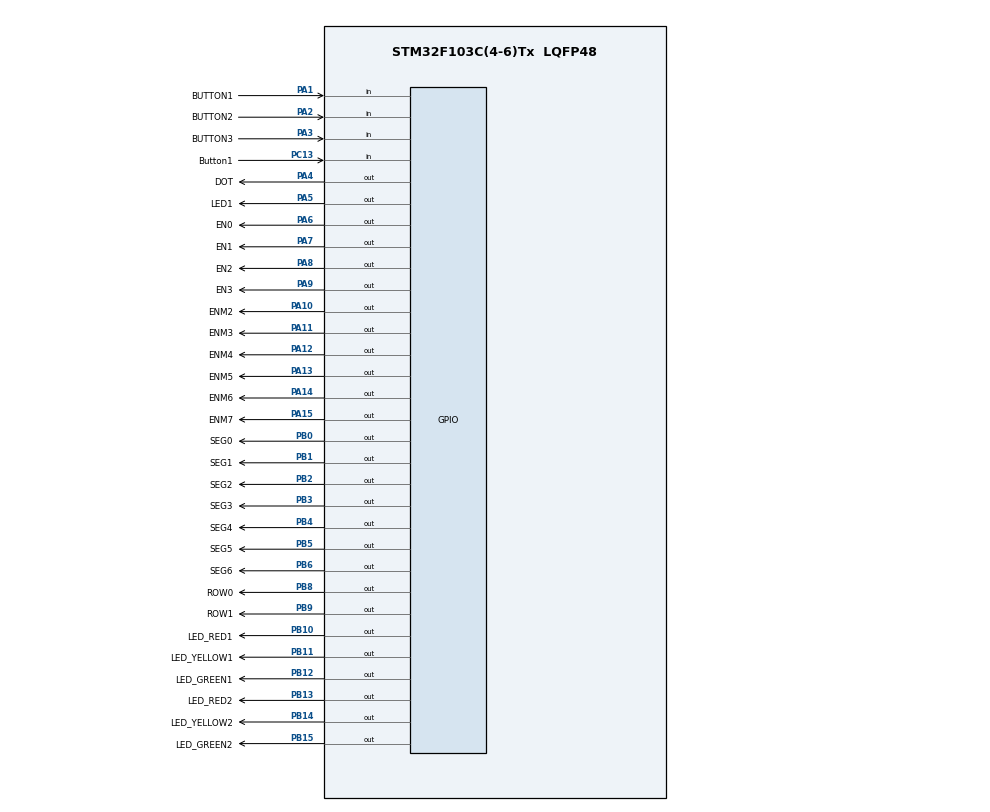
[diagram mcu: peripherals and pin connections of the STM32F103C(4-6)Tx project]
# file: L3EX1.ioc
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Mcu.Family=STM32F1
Mcu.Name=STM32F103C(4-6)Tx
Mcu.Package=LQFP48
NVIC.PriorityGroup=NVIC_PRIORITYGROUP_4
NVIC.TIM2_IRQn=true\:0\:0\:false\:false\:true\:true\:true\:true
PA1.GPIO_Label=BUTTON1
PA1.GPIO_PuPd=GPIO_PULLUP
PA1.Signal=GPIO_Input
PA10.GPIO_Label=ENM2
PA10.Signal=GPIO_Output
PA11.GPIO_Label=ENM3
PA11.Signal=GPIO_Output
PA12.GPIO_Label=ENM4
PA12.Signal=GPIO_Output
PA13.GPIO_Label=ENM5
PA13.Signal=GPIO_Output
PA14.GPIO_Label=ENM6
PA14.Signal=GPIO_Output
PA15.GPIO_Label=ENM7
PA15.Signal=GPIO_Output
PA2.GPIO_Label=BUTTON2
PA2.GPIO_PuPd=GPIO_PULLUP
PA2.Signal=GPIO_Input
PA3.GPIO_Label=BUTTON3
PA3.GPIO_PuPd=GPIO_PULLUP
PA3.Signal=GPIO_Input
PA4.GPIO_Label=DOT
PA4.Signal=GPIO_Output
PA5.GPIO_Label=LED1
PA5.Signal=GPIO_Output
PA6.GPIO_Label=EN0
PA6.Signal=GPIO_Output
PA7.GPIO_Label=EN1
PA7.Signal=GPIO_Output
PA8.GPIO_Label=EN2
PA8.Signal=GPIO_Output
PA9.GPIO_Label=EN3
PA9.Signal=GPIO_Output
PB0.GPIO_Label=SEG0
PB0.Signal=GPIO_Output
PB1.GPIO_Label=SEG1
PB1.Signal=GPIO_Output
PB10.GPIO_Label=LED_RED1
PB10.Signal=GPIO_Output
PB11.GPIO_Label=LED_YELLOW1
PB11.Signal=GPIO_Output
PB12.GPIO_Label=LED_GREEN1
PB12.Signal=GPIO_Output
PB13.GPIO_Label=LED_RED2
PB13.Signal=GPIO_Output
PB14.GPIO_Label=LED_YELLOW2
PB14.Signal=GPIO_Output
PB15.GPIO_Label=LED_GREEN2
PB15.Signal=GPIO_Output
PB2.GPIO_Label=SEG2
PB2.Signal=GPIO_Output
PB3.GPIO_Label=SEG3
PB3.Signal=GPIO_Output
PB4.GPIO_Label=SEG4
PB4.Signal=GPIO_Output
PB5.GPIO_Label=SEG5
PB5.Signal=GPIO_Output
PB6.GPIO_Label=SEG6
PB6.Signal=GPIO_Output
PB8.GPIO_Label=ROW0
PB8.Signal=GPIO_Output
PB9.GPIO_Label=ROW1
PB9.Signal=GPIO_Output
PC13-TAMPER-RTC.GPIO_Label=Button1
PC13-TAMPER-RTC.GPIO_PuPd=GPIO_PULLUP
PC13-TAMPER-RTC.Signal=GPIO_Input
ProjectManager.HeapSize=0x200
ProjectManager.StackSize=0x400
ProjectManager.TargetToolchain=STM32CubeIDE
RCC.APB1Freq_Value=8000000
RCC.APB2Freq_Value=8000000
TIM2.Period=9
TIM2.Prescaler=7999
VP_TIM2_VS_ClockSourceINT.Mode=Internal
board=custom

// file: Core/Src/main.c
/* USER CODE BEGIN Header */
/**
  ******************************************************************************
  * @file           : main.c
  * @brief          : Main program body
  ******************************************************************************
  * @attention
  *
  * Copyright (c) 2022 STMicroelectronics.
  * All rights reserved.
  *
  * This software is licensed under terms that can be found in the LICENSE file
  * in the root directory of this software component.
  * If no LICENSE file comes with this software, it is provided AS-IS.
  *
  ******************************************************************************
  */
/* USER CODE END Header */
#include "main.h"

/* USER CODE BEGIN Includes */
#include "fsm_automatic.h"
#include "fsm_manual.h"
#include "global.h"
#include "traffic_timer.h"
#include "7segment_led.h"
/* USER CODE END Includes */

TIM_HandleTypeDef htim2;

void SystemClock_Config(void);
static void MX_GPIO_Init(void);
static void MX_TIM2_Init(void);

int main(void)
{

  /* MCU Configuration--------------------------------------------------------*/

  /* Reset of all peripherals, Initializes the Flash interface and the Systick. */
  HAL_Init();

  /* Configure the system clock */
  SystemClock_Config();

  /* Initialize all configured peripherals */
  MX_GPIO_Init();
  MX_TIM2_Init();
  /* USER CODE BEGIN 2 */
  HAL_TIM_Base_Start_IT(&htim2);

  /* USER CODE END 2 */

  /* Infinite loop */
  /* USER CODE BEGIN WHILE */
  //int hour = 15 , minute = 59 , second = 50;
  //int led_index = 0;

  setTimer1(250);

  while (1)
  {

	  light_control_1();
	  light_control_2();

	  fsm_manual_run();

	  if (timer1_flag == 1){
		  setTimer1(250);

		  //Cum den 1
		  if (RED1_flag){
			  HAL_GPIO_TogglePin(LED_RED1_GPIO_Port, LED_RED1_Pin);
		  }
		  else if(YELLOW1_flag){
			  HAL_GPIO_TogglePin(LED_YELLOW1_GPIO_Port, LED_YELLOW1_Pin);
		  }
		  else if(GREEN1_flag){
			  HAL_GPIO_TogglePin(LED_GREEN1_GPIO_Port, LED_GREEN1_Pin);
		  }

		  //Cum den 2
		  if(RED2_flag){
			  HAL_GPIO_TogglePin(LED_RED2_GPIO_Port, LED_RED2_Pin);
		  }
		  else if(YELLOW2_flag){
			  HAL_GPIO_TogglePin(LED_YELLOW2_GPIO_Port, LED_YELLOW2_Pin);
		  }
		  else if(GREEN2_flag){
			  HAL_GPIO_TogglePin(LED_GREEN2_GPIO_Port, LED_GREEN2_Pin);
		  }

		  // Update 7seg LEDs
		  if (index_led > 3){
		  	  	index_led = 0;
		  }
		  update7SEG(index_led++);

	  }

    /* USER CODE END WHILE */

  }
}

void SystemClock_Config(void)
{
  RCC_OscInitTypeDef RCC_OscInitStruct = {0};
  RCC_ClkInitTypeDef RCC_ClkInitStruct = {0};

  /** Initializes the RCC Oscillators according to the specified parameters
  * in the RCC_OscInitTypeDef structure.
  */
  RCC_OscInitStruct.OscillatorType = RCC_OSCILLATORTYPE_HSI;
  RCC_OscInitStruct.HSIState = RCC_HSI_ON;
  RCC_OscInitStruct.HSICalibrationValue = RCC_HSICALIBRATION_DEFAULT;
  RCC_OscInitStruct.PLL.PLLState = RCC_PLL_NONE;
  if (HAL_RCC_OscConfig(&RCC_OscInitStruct) != HAL_OK)
  {
    Error_Handler();
  }

  /** Initializes the CPU, AHB and APB buses clocks
  */
  RCC_ClkInitStruct.ClockType = RCC_CLOCKTYPE_HCLK|RCC_CLOCKTYPE_SYSCLK
                              |RCC_CLOCKTYPE_PCLK1|RCC_CLOCKTYPE_PCLK2;
  RCC_ClkInitStruct.SYSCLKSource = RCC_SYSCLKSOURCE_HSI;
  RCC_ClkInitStruct.AHBCLKDivider = RCC_SYSCLK_DIV1;
  RCC_ClkInitStruct.APB1CLKDivider = RCC_HCLK_DIV1;
  RCC_ClkInitStruct.APB2CLKDivider = RCC_HCLK_DIV1;

  if (HAL_RCC_ClockConfig(&RCC_ClkInitStruct, FLASH_LATENCY_0) != HAL_OK)
  {
    Error_Handler();
  }
}

static void MX_TIM2_Init(void)
{

  TIM_ClockConfigTypeDef sClockSourceConfig = {0};
  TIM_MasterConfigTypeDef sMasterConfig = {0};

  htim2.Instance = TIM2;
  htim2.Init.Prescaler = 7999;
  htim2.Init.CounterMode = TIM_COUNTERMODE_UP;
  htim2.Init.Period = 9;
  htim2.Init.ClockDivision = TIM_CLOCKDIVISION_DIV1;
  htim2.Init.AutoReloadPreload = TIM_AUTORELOAD_PRELOAD_DISABLE;
  if (HAL_TIM_Base_Init(&htim2) != HAL_OK)
  {
    Error_Handler();
  }
  sClockSourceConfig.ClockSource = TIM_CLOCKSOURCE_INTERNAL;
  if (HAL_TIM_ConfigClockSource(&htim2, &sClockSourceConfig) != HAL_OK)
  {
    Error_Handler();
  }
  sMasterConfig.MasterOutputTrigger = TIM_TRGO_RESET;
  sMasterConfig.MasterSlaveMode = TIM_MASTERSLAVEMODE_DISABLE;
  if (HAL_TIMEx_MasterConfigSynchronization(&htim2, &sMasterConfig) != HAL_OK)
  {
    Error_Handler();
  }

}

static void MX_GPIO_Init(void)
{
  GPIO_InitTypeDef GPIO_InitStruct = {0};

  /* GPIO Ports Clock Enable */
  __HAL_RCC_GPIOC_CLK_ENABLE();
  __HAL_RCC_GPIOA_CLK_ENABLE();
  __HAL_RCC_GPIOB_CLK_ENABLE();

  /*Configure GPIO pin Output Level */
  HAL_GPIO_WritePin(GPIOA, DOT_Pin|LED1_Pin|EN0_Pin|EN1_Pin
                          |EN2_Pin|EN3_Pin|ENM2_Pin|ENM3_Pin
                          |ENM4_Pin|ENM5_Pin|ENM6_Pin|ENM7_Pin, GPIO_PIN_RESET);

  /*Configure GPIO pin Output Level */
  HAL_GPIO_WritePin(GPIOB, SEG0_Pin|SEG1_Pin|SEG2_Pin|LED_RED1_Pin
                          |LED_YELLOW1_Pin|LED_GREEN1_Pin|LED_RED2_Pin|LED_YELLOW2_Pin
                          |LED_GREEN2_Pin|SEG3_Pin|SEG4_Pin|SEG5_Pin
                          |SEG6_Pin|ROW0_Pin|ROW1_Pin, GPIO_PIN_RESET);

  /*Configure GPIO pin : Button1_Pin */
  GPIO_InitStruct.Pin = Button1_Pin;
  GPIO_InitStruct.Mode = GPIO_MODE_INPUT;
  GPIO_InitStruct.Pull = GPIO_PULLUP;
  HAL_GPIO_Init(Button1_GPIO_Port, &GPIO_InitStruct);

  /*Configure GPIO pins : BUTTON1_Pin BUTTON2_Pin BUTTON3_Pin */
  GPIO_InitStruct.Pin = BUTTON1_Pin|BUTTON2_Pin|BUTTON3_Pin;
  GPIO_InitStruct.Mode = GPIO_MODE_INPUT;
  GPIO_InitStruct.Pull = GPIO_PULLUP;
  HAL_GPIO_Init(GPIOA, &GPIO_InitStruct);

  /*Configure GPIO pins : DOT_Pin LED1_Pin EN0_Pin EN1_Pin
                           EN2_Pin EN3_Pin ENM2_Pin ENM3_Pin
                           ENM4_Pin ENM5_Pin ENM6_Pin ENM7_Pin */
  GPIO_InitStruct.Pin = DOT_Pin|LED1_Pin|EN0_Pin|EN1_Pin
                          |EN2_Pin|EN3_Pin|ENM2_Pin|ENM3_Pin
                          |ENM4_Pin|ENM5_Pin|ENM6_Pin|ENM7_Pin;
  GPIO_InitStruct.Mode = GPIO_MODE_OUTPUT_PP;
  GPIO_InitStruct.Pull = GPIO_NOPULL;
  GPIO_InitStruct.Speed = GPIO_SPEED_FREQ_LOW;
  HAL_GPIO_Init(GPIOA, &GPIO_InitStruct);

  /*Configure GPIO pins : SEG0_Pin SEG1_Pin SEG2_Pin LED_RED1_Pin
                           LED_YELLOW1_Pin LED_GREEN1_Pin LED_RED2_Pin LED_YELLOW2_Pin
                           LED_GREEN2_Pin SEG3_Pin SEG4_Pin SEG5_Pin
                           SEG6_Pin ROW0_Pin ROW1_Pin */
  GPIO_InitStruct.Pin = SEG0_Pin|SEG1_Pin|SEG2_Pin|LED_RED1_Pin
                          |LED_YELLOW1_Pin|LED_GREEN1_Pin|LED_RED2_Pin|LED_YELLOW2_Pin
                          |LED_GREEN2_Pin|SEG3_Pin|SEG4_Pin|SEG5_Pin
                          |SEG6_Pin|ROW0_Pin|ROW1_Pin;
  GPIO_InitStruct.Mode = GPIO_MODE_OUTPUT_PP;
  GPIO_InitStruct.Pull = GPIO_NOPULL;
  GPIO_InitStruct.Speed = GPIO_SPEED_FREQ_LOW;
  HAL_GPIO_Init(GPIOB, &GPIO_InitStruct);

}

/* USER CODE BEGIN 4 */

void HAL_TIM_PeriodElapsedCallback(TIM_HandleTypeDef *htim){
	timerRun();
	getKeyInput1();
	getKeyInput2();
	getKeyInput3();

}

/* USER CODE END 4 */

void Error_Handler(void)
{
  __disable_irq();
  while (1)
  {
  }
}
